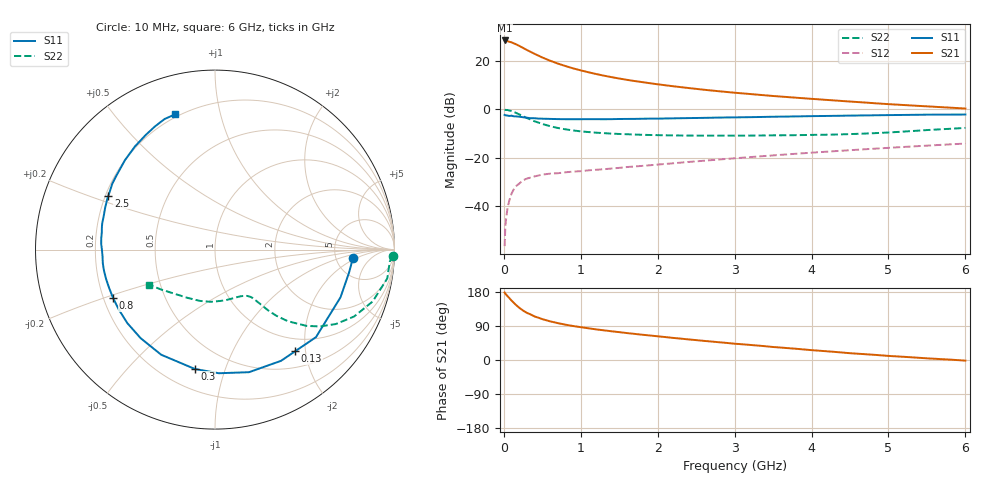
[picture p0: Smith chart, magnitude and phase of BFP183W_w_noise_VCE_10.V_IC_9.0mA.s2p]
! Infineon Technologies  Discrete & RF Semiconductors
! BFP183W
! VCE =  10. V,  IC =  9.0 mA
! Common Emitter S-Parameters:  Jan 2017
# GHz  S  MA  R  50
!  f  S11  S21  S12  S22
! GHz  MAG  ANG  MAG  ANG  MAG  ANG  MAG  ANG
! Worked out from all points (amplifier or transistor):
!   77 points, 10 MHz to 6 GHz, reference 50 ohm
!   highest |S21| = 28.5 dB at 10 MHz (marker M1)
!   |S21| within 3 dB of that: start of sweep to 245.6 MHz
!   unconditionally stable (mu >= 1): 1.797 GHz to 3.919 GHz
!   at 130 MHz: K = 0.13, MSG = 30.1 dB, |S12| = -33.0 dB
!   at 2.2 GHz: K = 1.05, MAG = 14.5 dB, |S12| = -22.2 dB
!   at 6 GHz: K = 0.84, MSG = 7.2 dB, |S12| = -14.1 dB
!   lowest NFmin = 0.90 dB at 450 MHz
!   S11 on the Smith chart (normalised r, x): 10 MHz: 7.34, -1.65; 130 MHz: 0.76, -1.80; 300 MHz: 0.32, -0.79; 800 MHz: 0.24, -0.21; 2.5 GHz: 0.21, +0.23; 6 GHz: 0.19, +0.73
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0.01  0.7705 -3.4  26.58 178.0  0.0015 78.2  0.9919 -1.9
0.02  0.7578 -9.7  26.26 174.8  0.0038 90.5  0.9765 -3.8
0.05  0.7481 -20.8  25.68 168.0  0.0094 78.5  0.9732 -9.5
0.1  0.7446 -40.9  24.32 156.8  0.0182 70.8  0.9249 -18.2
0.13  0.7212 -51.8  23.15 150.9  0.0225 65.9  0.884 -22.6
0.15  0.7207 -59.3  22.52 146.7  0.0255 63.6  0.8598 -25.7
0.2  0.7088 -74.5  20.53 137.9  0.0294 57.0  0.7912 -31.6
0.25  0.6892 -88.2  18.66 130.4  0.0346 51.2  0.7249 -36.2
0.3  0.6745 -99.6  16.87 124.4  0.0373 46.8  0.664 -39.8
0.4  0.6581 -117.1  14.04 114.8  0.0414 42.8  0.569 -44.5
0.5  0.6443 -130.0  11.82 107.8  0.045 39.0  0.5011 -47.2
0.6  0.6375 -140.0  10.17 102.1  0.0472 37.7  0.4511 -48.8
0.7  0.6316 -148.0  8.875 97.4  0.0481 37.2  0.4146 -49.7
0.8  0.6286 -154.7  7.881 93.2  0.0503 38.0  0.3886 -50.4
1.1  0.6296 -169.3  5.856 83.7  0.0552 38.7  0.3412 -52.2
1.5  0.6349 177.1  4.348 73.5  0.0621 42.1  0.3112 -55.9
2.1  0.6503 161.5  3.156 60.5  0.0749 46.4  0.2924 -64.8
2.5  0.6657 153.1  2.659 52.5  0.0847 48.2  0.2881 -72.8
3.1  0.6887 142.0  2.147 41.5  0.1007 49.2  0.2876 -85.7
4.1  0.7303 126.5  1.613 24.5  0.131 48.2  0.2991 -109.3
5.1  0.7668 114.8  1.259 9.6  0.1645 44.8  0.3415 -135.2
6  0.7859 106.3  1.044 -1.6  0.1974 40.1  0.4157 -151.9
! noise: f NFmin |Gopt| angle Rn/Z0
0.45  0.9  0.11  89  0.11
0.9  0.95  0.18  132  0.1
1.9  1.46  0.37  179  0.07
2.4  1.71  0.44  -170  0.09
